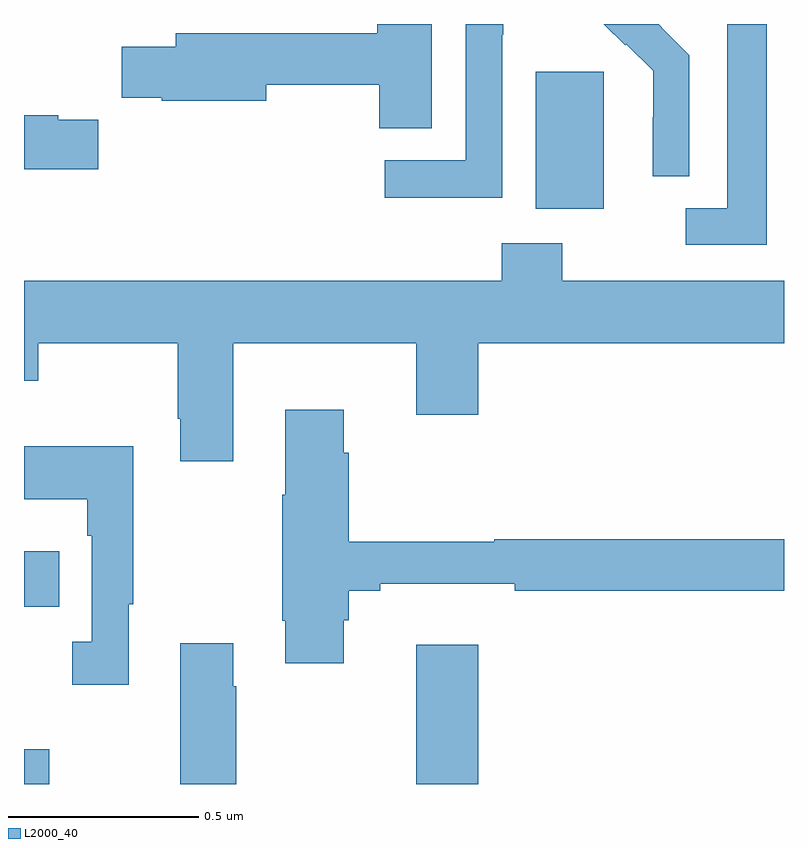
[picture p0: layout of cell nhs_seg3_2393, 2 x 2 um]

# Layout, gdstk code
import gdstk
lib = gdstk.Library(unit=1e-6, precision=1e-09)
def R(c, l, rs):  # rectangles x0, y0, x1, y1
    for r in rs: c.add(gdstk.rectangle(r[:2], r[2:], *l))
def P(c, l, *ps):  # polygons
    for p in ps: c.add(gdstk.Polygon(p, *l))
L2000_40 = (2000, 40)

nhs_seg3_2393 = lib.new_cell('nhs_seg3_2393')
R(nhs_seg3_2393, L2000_40, [(140,722.4,140.067,722.491), (141.032,722.4,141.196,722.767), (140,722.866,140.093,723.013), (141.347,723.914,141.526,724.275)])
P(nhs_seg3_2393, L2000_40, [(141.955,724.4),(141.851,724.4),(141.851,723.915),(141.741,723.915),(141.741,723.819),(141.955,723.819)],
  [(141.258,724.372),(141.261,724.372),(141.261,724.4),(141.162,724.4),(141.162,724.041),(140.949,724.041),(140.949,723.943),(141.258,723.943)],
  [(141.75,724.318),(141.677,724.391),(141.678,724.392),(141.67,724.4),(141.526,724.4),(141.582,724.344),(141.585,724.347),(141.656,724.277),(141.656,724.154),(141.654,724.154),(141.654,724),(141.75,724)],
  [(141.073,724.4),(140.93,724.4),(140.93,724.376),(140.399,724.376),(140.399,724.34),(140.257,724.34),(140.257,724.206),(140.362,724.206),(140.362,724.198),(140.638,724.198),(140.638,724.24),(140.935,724.24),(140.935,724.126),(141.073,724.126)],
  [(140.195,724.148),(140.09,724.148),(140.09,724.16),(140,724.16),(140,724.018),(140.195,724.018)],
  [(140.551,723.56),(141.032,723.56),(141.032,723.372),(141.196,723.372),(141.196,723.56),(142,723.56),(142,723.724),(141.417,723.724),(141.417,723.823),(141.257,723.823),(141.257,723.724),(140,723.724),(140,723.461),(140.037,723.461),(140.037,723.56),(140.404,723.56),(140.404,723.361),(140.411,723.361),(140.411,723.249),(140.551,723.249)],
  [(140.842,722.831),(140.855,722.831),(140.855,722.908),(140.938,722.908),(140.938,722.927),(141.292,722.927),(141.292,722.908),(142,722.908),(142,723.044),(141.238,723.044),(141.238,723.037),(140.855,723.037),(140.855,723.272),(140.842,723.272),(140.842,723.385),(140.687,723.385),(140.687,723.161),(140.68,723.161),(140.68,722.83),(140.687,722.83),(140.687,722.718),(140.842,722.718)],
  [(140.275,722.873),(140.287,722.873),(140.287,723.289),(140,723.289),(140,723.149),(140.166,723.149),(140.166,723.053),(140.178,723.053),(140.178,722.774),(140.127,722.774),(140.127,722.661),(140.275,722.661)],
  [(140.559,722.657),(140.551,722.657),(140.551,722.77),(140.411,722.77),(140.411,722.4),(140.559,722.4)])

lib.write_gds('nhs_seg3_2393.gds')
